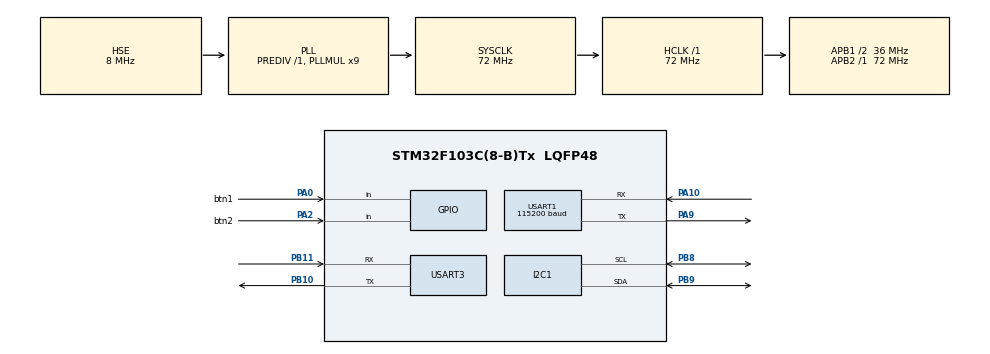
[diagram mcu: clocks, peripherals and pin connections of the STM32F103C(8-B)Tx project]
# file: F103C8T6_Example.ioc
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Dma.I2C1_TX.2.Direction=DMA_MEMORY_TO_PERIPH
Dma.I2C1_TX.2.Instance=DMA1_Channel6
Dma.I2C1_TX.2.MemDataAlignment=DMA_MDATAALIGN_BYTE
Dma.I2C1_TX.2.MemInc=DMA_MINC_ENABLE
Dma.I2C1_TX.2.Mode=DMA_NORMAL
Dma.I2C1_TX.2.PeriphDataAlignment=DMA_PDATAALIGN_BYTE
Dma.I2C1_TX.2.PeriphInc=DMA_PINC_DISABLE
Dma.I2C1_TX.2.Priority=DMA_PRIORITY_LOW
Dma.Request0=USART1_RX
Dma.Request1=USART1_TX
Dma.Request2=I2C1_TX
Dma.Request3=USART3_RX
Dma.Request4=USART3_TX
Dma.USART1_RX.0.Direction=DMA_PERIPH_TO_MEMORY
Dma.USART1_RX.0.Instance=DMA1_Channel5
Dma.USART1_RX.0.MemDataAlignment=DMA_MDATAALIGN_BYTE
Dma.USART1_RX.0.MemInc=DMA_MINC_ENABLE
Dma.USART1_RX.0.Mode=DMA_NORMAL
Dma.USART1_RX.0.PeriphDataAlignment=DMA_PDATAALIGN_BYTE
Dma.USART1_RX.0.PeriphInc=DMA_PINC_DISABLE
Dma.USART1_RX.0.Priority=DMA_PRIORITY_LOW
Dma.USART1_TX.1.Direction=DMA_MEMORY_TO_PERIPH
Dma.USART1_TX.1.Instance=DMA1_Channel4
Dma.USART1_TX.1.MemDataAlignment=DMA_MDATAALIGN_BYTE
Dma.USART1_TX.1.MemInc=DMA_MINC_ENABLE
Dma.USART1_TX.1.Mode=DMA_NORMAL
Dma.USART1_TX.1.PeriphDataAlignment=DMA_PDATAALIGN_BYTE
Dma.USART1_TX.1.PeriphInc=DMA_PINC_DISABLE
Dma.USART1_TX.1.Priority=DMA_PRIORITY_LOW
Dma.USART3_RX.3.Direction=DMA_PERIPH_TO_MEMORY
Dma.USART3_RX.3.Instance=DMA1_Channel3
Dma.USART3_RX.3.MemDataAlignment=DMA_MDATAALIGN_BYTE
Dma.USART3_RX.3.MemInc=DMA_MINC_ENABLE
Dma.USART3_RX.3.Mode=DMA_NORMAL
Dma.USART3_RX.3.PeriphDataAlignment=DMA_PDATAALIGN_BYTE
Dma.USART3_RX.3.PeriphInc=DMA_PINC_DISABLE
Dma.USART3_RX.3.Priority=DMA_PRIORITY_MEDIUM
Dma.USART3_TX.4.Direction=DMA_MEMORY_TO_PERIPH
Dma.USART3_TX.4.Instance=DMA1_Channel2
Dma.USART3_TX.4.MemDataAlignment=DMA_MDATAALIGN_BYTE
Dma.USART3_TX.4.MemInc=DMA_MINC_ENABLE
Dma.USART3_TX.4.Mode=DMA_NORMAL
Dma.USART3_TX.4.PeriphDataAlignment=DMA_PDATAALIGN_BYTE
Dma.USART3_TX.4.PeriphInc=DMA_PINC_DISABLE
Dma.USART3_TX.4.Priority=DMA_PRIORITY_MEDIUM
I2C1.I2C_Mode=I2C_Fast
Mcu.Family=STM32F1
Mcu.Name=STM32F103C(8-B)Tx
Mcu.Package=LQFP48
NVIC.DMA1_Channel2_IRQn=true\:0\:0\:false\:false\:true\:false\:true\:true
NVIC.DMA1_Channel3_IRQn=true\:0\:0\:false\:false\:true\:false\:true\:true
NVIC.DMA1_Channel4_IRQn=true\:0\:0\:false\:false\:true\:false\:true\:true
NVIC.DMA1_Channel5_IRQn=true\:0\:0\:false\:false\:true\:false\:true\:true
NVIC.DMA1_Channel6_IRQn=true\:0\:0\:false\:false\:true\:false\:true\:true
NVIC.I2C1_ER_IRQn=true\:0\:0\:false\:false\:true\:true\:true\:true
NVIC.I2C1_EV_IRQn=true\:0\:0\:false\:false\:true\:true\:true\:true
NVIC.PriorityGroup=NVIC_PRIORITYGROUP_4
NVIC.TIM2_IRQn=true\:0\:0\:false\:false\:true\:true\:true\:true
NVIC.USART1_IRQn=true\:0\:0\:false\:false\:true\:true\:true\:true
NVIC.USART3_IRQn=true\:0\:0\:false\:false\:true\:true\:true\:true
PA0-WKUP.GPIO_Label=btn1
PA0-WKUP.GPIO_PuPd=GPIO_PULLUP
PA0-WKUP.Signal=GPIO_Input
PA10.Mode=Asynchronous
PA10.Signal=USART1_RX
PA13.Mode=Serial_Wire
PA13.Signal=SYS_JTMS-SWDIO
PA14.Mode=Serial_Wire
PA14.Signal=SYS_JTCK-SWCLK
PA2.GPIO_Label=btn2
PA2.GPIO_PuPd=GPIO_PULLUP
PA2.Signal=GPIO_Input
PA9.Mode=Asynchronous
PA9.Signal=USART1_TX
PB10.Mode=Asynchronous
PB10.Signal=USART3_TX
PB11.Mode=Asynchronous
PB11.Signal=USART3_RX
PB8.Mode=I2C
PB8.Signal=I2C1_SCL
PB9.Mode=I2C
PB9.Signal=I2C1_SDA
PC14-OSC32_IN.Mode=LSE-External-Oscillator
PC14-OSC32_IN.Signal=RCC_OSC32_IN
PC15-OSC32_OUT.Mode=LSE-External-Oscillator
PC15-OSC32_OUT.Signal=RCC_OSC32_OUT
PD0-OSC_IN.Mode=HSE-External-Oscillator
PD0-OSC_IN.Signal=RCC_OSC_IN
PD1-OSC_OUT.Mode=HSE-External-Oscillator
PD1-OSC_OUT.Signal=RCC_OSC_OUT
ProjectManager.HeapSize=0x200
ProjectManager.StackSize=0x400
ProjectManager.TargetToolchain=STM32CubeIDE
RCC.AHBFreq_Value=72000000
RCC.APB1CLKDivider=RCC_HCLK_DIV2
RCC.APB1Freq_Value=36000000
RCC.APB1TimFreq_Value=72000000
RCC.APB2Freq_Value=72000000
RCC.APB2TimFreq_Value=72000000
RCC.HCLKFreq_Value=72000000
RCC.PLLMUL=RCC_PLL_MUL9
RCC.PLLSourceVirtual=RCC_PLLSOURCE_HSE
RCC.SYSCLKFreq_VALUE=72000000
RCC.SYSCLKSource=RCC_SYSCLKSOURCE_PLLCLK
RCC.USBFreq_Value=72000000
TIM2.Period=10000-1
TIM2.Prescaler=7200-1
USART1.BaudRate=115200
USART1.VirtualMode=VM_ASYNC
USART3.VirtualMode=VM_ASYNC
VP_TIM2_VS_ClockSourceINT.Mode=Internal
board=custom

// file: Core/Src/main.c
/* USER CODE BEGIN Header */
/**
  ******************************************************************************
  * @file           : main.c
  * @brief          : Main program body
  ******************************************************************************
  * @attention
  *
  * Copyright (c) 2025 STMicroelectronics.
  * All rights reserved.
  *
  * This software is licensed under terms that can be found in the LICENSE file
  * in the root directory of this software component.
  * If no LICENSE file comes with this software, it is provided AS-IS.
  *
  ******************************************************************************
  */
/* USER CODE END Header */
#include "main.h"
#include "dma.h"
#include "i2c.h"
#include "tim.h"
#include "usart.h"
#include "gpio.h"

/* USER CODE BEGIN Includes */
#include "string.h"
#include"../inc/retarget.h"		//printf函数重映射
#include "../../User/OLED/OLED.h"
#include "../../User/Key/Key.h"
/* USER CODE END Includes */

void SystemClock_Config(void);

/* USER CODE BEGIN 0 */

/*实例化两个按钮*/
Button btn1;
Button btn2;

/*点击事件*/
void btn1_single_click(Button* btn) {
    // 单击处理
	printf("btn1_single_click\r\n");
}

void btn1_double_click(Button* btn) {
    // 双击处理
	printf("btn1_double_click\r\n");
}

void btn1_triple_click(Button* btn) {
    // 三击处理
	printf("btn1_triple_click\r\n");
}
void btn1_long_click(Button* btn) {
    // 长按处理
	printf("btn1_long_click\r\n");
}

void btn2_single_click(Button* btn) {
    // 单击处理
	printf("btn2_single_click\r\n");
}

void btn2_double_click(Button* btn) {
    // 双击处理
	printf("btn2_double_click\r\n");
}

void btn2_triple_click(Button* btn) {
    // 三击处理
	printf("btn2_triple_click\r\n");
}
void btn2_long_click(Button* btn) {
    // 长按处理
	printf("btn2_long_click\r\n");
}

uint16_t fps = 0, fps_max = 0;

//重定义'定时器周期回调'函数
void HAL_TIM_PeriodElapsedCallback(TIM_HandleTypeDef *htim){	//1S周期回调
	if(htim == &htim2){
		if(fps_max - fps < -1 || fps_max - fps > 1)
		{
			fps_max = fps;
		}
		fps = 0;
	}
}

extern DMA_HandleTypeDef hdma_usart1_rx;//声明外部句柄
char receivData[50] = {0};//存放接收内容(记得初始化)
uint8_t dataReady;//发送标志位

//重定义'串口事件回调'函数
void HAL_UARTEx_RxEventCallback(UART_HandleTypeDef *huart, uint16_t Size){
	if(huart == &huart1){
		dataReady = 1;//在主函数里处理发送

		//处理数据...

		HAL_UARTEx_ReceiveToIdle_DMA(&huart1, (uint8_t*)receivData, 50);
		__HAL_DMA_DISABLE_IT(&hdma_usart1_rx,DMA_IT_HT);//关闭DMA接收过半中断
	}

}
/* USER CODE END 0 */

int main(void)
{

  /* MCU Configuration--------------------------------------------------------*/

  /* Reset of all peripherals, Initializes the Flash interface and the Systick. */
  HAL_Init();

  /* Configure the system clock */
  SystemClock_Config();

  /* Initialize all configured peripherals */
  MX_GPIO_Init();
  MX_DMA_Init();
  MX_USART1_UART_Init();
  MX_I2C1_Init();
  MX_TIM2_Init();
  MX_USART3_UART_Init();
  /* USER CODE BEGIN 2 */

  RetargetInit(&huart1);//将printf()函数映射到UART1串口上
  OLED_Init();

  //初始化按键
  Button_Init(&btn1,btn1_GPIO_Port,btn1_Pin,GPIO_PIN_RESET);
  btn1.SinglePressHandler = btn1_single_click;
  btn1.DoublePressHandler = btn1_double_click;
  btn1.TriplePressHandler = btn1_triple_click;
  btn1.LongPressHandler = btn1_long_click;

  Button_Init(&btn2,btn2_GPIO_Port,btn2_Pin,GPIO_PIN_RESET);
  btn2.SinglePressHandler = btn2_single_click;
  btn2.DoublePressHandler = btn2_double_click;
  btn2.TriplePressHandler = btn2_triple_click;
  btn2.LongPressHandler = btn2_long_click;

  HAL_UARTEx_ReceiveToIdle_DMA(&huart1, (uint8_t*)receivData, 50);//开启接收，末参数为最大长度
  __HAL_DMA_DISABLE_IT(&hdma_usart1_rx,DMA_IT_HT);//关闭DMA接收过半中断

  HAL_TIM_Base_Start_IT(&htim2);//开启定时
  /* USER CODE END 2 */

  /* Infinite loop */
  /* USER CODE BEGIN WHILE */
  while (1)
  {
	  if (dataReady) {
		  // 处理activeBuffer中的数据
		  HAL_UART_Transmit_DMA(&huart1, (uint8_t*)receivData, strlen(receivData));
		  dataReady = 0;
	  }

	  Button_Update(&btn1);
	  Button_Update(&btn2);
	//dosomething...

	//显示帧数

	fps++;//每刷新一帧++

    /* USER CODE END WHILE */

  }
}

void SystemClock_Config(void)
{
  RCC_OscInitTypeDef RCC_OscInitStruct = {0};
  RCC_ClkInitTypeDef RCC_ClkInitStruct = {0};

  /** Initializes the RCC Oscillators according to the specified parameters
  * in the RCC_OscInitTypeDef structure.
  */
  RCC_OscInitStruct.OscillatorType = RCC_OSCILLATORTYPE_HSE;
  RCC_OscInitStruct.HSEState = RCC_HSE_ON;
  RCC_OscInitStruct.HSEPredivValue = RCC_HSE_PREDIV_DIV1;
  RCC_OscInitStruct.HSIState = RCC_HSI_ON;
  RCC_OscInitStruct.PLL.PLLState = RCC_PLL_ON;
  RCC_OscInitStruct.PLL.PLLSource = RCC_PLLSOURCE_HSE;
  RCC_OscInitStruct.PLL.PLLMUL = RCC_PLL_MUL9;
  if (HAL_RCC_OscConfig(&RCC_OscInitStruct) != HAL_OK)
  {
    Error_Handler();
  }

  /** Initializes the CPU, AHB and APB buses clocks
  */
  RCC_ClkInitStruct.ClockType = RCC_CLOCKTYPE_HCLK|RCC_CLOCKTYPE_SYSCLK
                              |RCC_CLOCKTYPE_PCLK1|RCC_CLOCKTYPE_PCLK2;
  RCC_ClkInitStruct.SYSCLKSource = RCC_SYSCLKSOURCE_PLLCLK;
  RCC_ClkInitStruct.AHBCLKDivider = RCC_SYSCLK_DIV1;
  RCC_ClkInitStruct.APB1CLKDivider = RCC_HCLK_DIV2;
  RCC_ClkInitStruct.APB2CLKDivider = RCC_HCLK_DIV1;

  if (HAL_RCC_ClockConfig(&RCC_ClkInitStruct, FLASH_LATENCY_2) != HAL_OK)
  {
    Error_Handler();
  }
}

void Error_Handler(void)
{
  __disable_irq();
  while (1)
  {
  }
}
